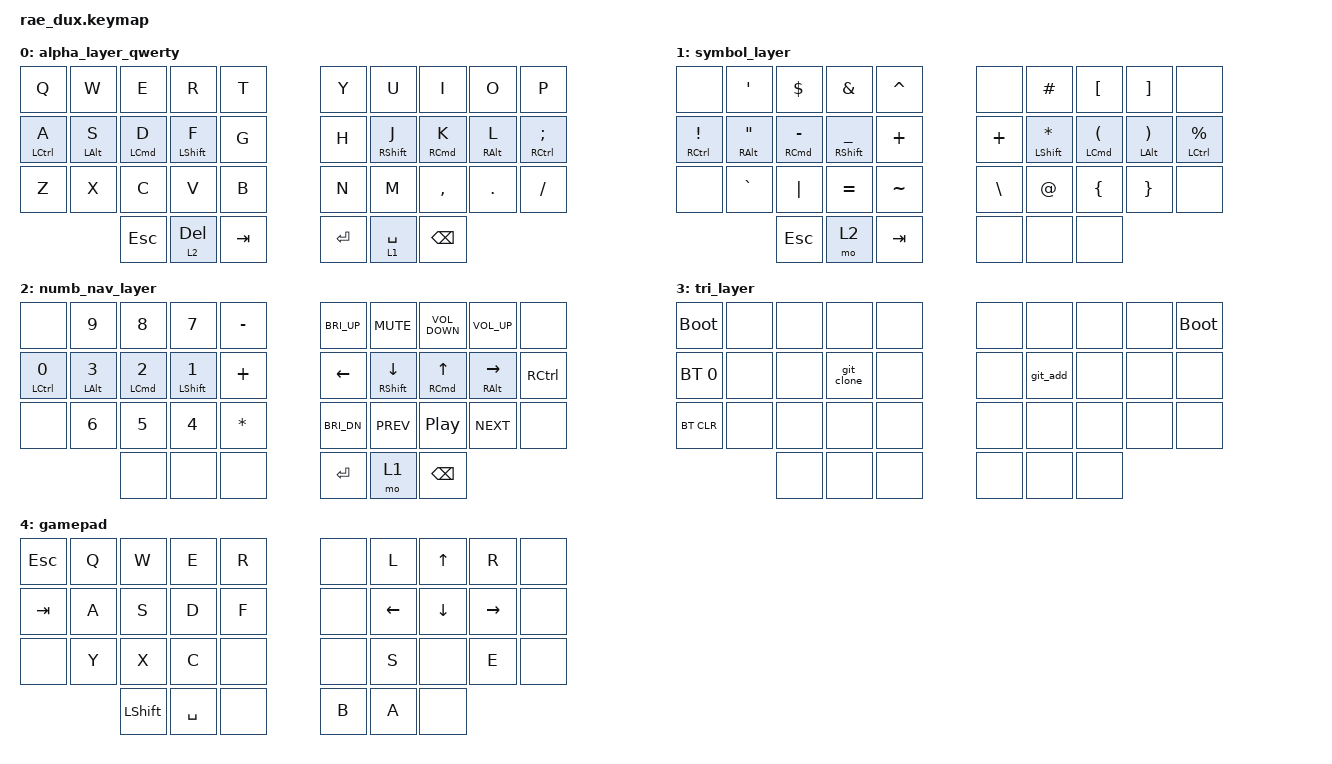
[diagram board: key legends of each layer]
/*
 * Copyright (c) 2021 The ZMK Contributors
 *
 * SPDX-License-Identifier: MIT
 */

#include <behaviors.dtsi>
#include <dt-bindings/zmk/bt.h>
#include <dt-bindings/zmk/keys.h>

&lt { flavor = "hold-preferred"; };

/ {
    conditional_layers {
        compatible = "zmk,conditional-layers";

        Tri {
            if-layers = <2 1>;
            then-layer = <3>;
        };
    };

    behaviors {
        hrm: home_row_mods {
            compatible = "zmk,behavior-hold-tap";
            label = "HOME_ROW_MODS";
            #binding-cells = <2>;
            flavor = "balanced";
            tapping-term-ms = <300>;
            bindings = <&kp>, <&kp>;
        };

        lt_repeat: lt_repeat {
            compatible = "zmk,behavior-hold-tap";
            label = "LT_REPEAT";
            bindings = <&mo>, <&key_repeat>;

            #binding-cells = <2>;
            flavor = "hold-preferred";
            tapping-term-ms = <300>;
        };

        new_behavior: new_behavior {
            compatible = "zmk,behavior-hold-tap";
            label = "NEW_BEHAVIOR";
            #binding-cells = <2>;
            flavor = "hold-preferred";
            tapping-term-ms = <300>;
            bindings = <&kp>, <&kp>;
        };

        asdasd: asdasd {
            compatible = "zmk,behavior-hold-tap";
            label = "ASDASD";
            #binding-cells = <2>;
            flavor = "tap-preferred";
            tapping-term-ms = <300>;
            bindings = <&kp>, <&kp>;
        };
    };

    combos {
        compatible = "zmk,combos";

        Gamepad {
            bindings = <&tog 4>;
            key-positions = <8 28>;
        };

        Lock_my_Screen {
            bindings = <&kp LC(LG(Q))>;
            key-positions = <9 29>;
        };

        Look_my_Screen_2 {
            bindings = <&kp LC(LG(Q))>;
            key-positions = <0 20>;
        };
    };

    macros {
        git_clone: git_clone {
            compatible = "zmk,behavior-macro";
            #binding-cells = <0>;
            bindings = <&none &kp G &kp I &kp T &kp SPACE &kp C &kp L &kp O &kp N &kp E &kp SPACE &kp G &kp I &kp T &kp AT &kp G &kp I &kp T &kp H &kp U &kp B &kp DOT &kp C &kp O &kp M &kp COLON &kp V &kp N1 &kp D &kp U &kp S &kp S &kp S &kp FSLH>;
            label = "GIT_CLONE";
        };

        git_add: git_add {
            compatible = "zmk,behavior-macro";
            #binding-cells = <0>;
            bindings = <&none &kp C &kp L &kp E &kp A &kp R &kp RET &kp G &kp I &kp T &kp SPACE &kp A &kp D &kp D &kp SPACE &kp DOT &kp RET &kp G &kp I &kp T &kp SPACE &kp S &kp T &kp A &kp T &kp U &kp S &kp RET &kp G &kp I &kp T &kp SPACE &kp R &kp E &kp S &kp T &kp O &kp R &kp E &kp SPACE &kp MINUS &kp MINUS &kp S &kp T &kp A &kp G &kp E &kp D &kp SPACE>;
            label = "GIT_ADD";
        };
    };

    keymap {
        compatible = "zmk,keymap";

        alpha_layer_qwerty {
            bindings = <
&kp Q                &kp W            &kp E                &kp R              &kp T                               &kp Y        &kp U               &kp I                 &kp O             &kp P
&hrm LEFT_CONTROL A  &hrm LEFT_ALT S  &hrm LEFT_COMMAND D  &hrm LEFT_SHIFT F  &kp G                               &kp H        &hrm RIGHT_SHIFT J  &hrm RIGHT_COMMAND K  &hrm RIGHT_ALT L  &hrm RIGHT_CONTROL SEMICOLON
&kp Z                &kp X            &kp C                &kp V              &kp B                               &kp N        &kp M               &kp COMMA             &kp DOT           &kp SLASH
                                                           &kp ESC            &lt 2 DELETE  &kp TAB    &kp ENTER  &lt 1 SPACE  &kp BACKSPACE
            >;
        };

        Symbol {
            bindings = <
&none                           &kp SINGLE_QUOTE              &kp DOLLAR                &kp AMPERSAND                &kp CARET                    &none          &kp POUND              &kp LEFT_BRACKET                    &kp RIGHT_BRACKET                &none
&hrm RIGHT_CONTROL EXCLAMATION  &hrm RIGHT_ALT DOUBLE_QUOTES  &hrm RIGHT_COMMAND MINUS  &hrm RIGHT_SHIFT UNDERSCORE  &kp PLUS                     &kp PLUS       &hrm LEFT_SHIFT ASTRK  &hrm LEFT_COMMAND LEFT_PARENTHESIS  &hrm LEFT_ALT RIGHT_PARENTHESIS  &hrm LEFT_CONTROL PERCENT
&none                           &kp GRAVE                     &kp PIPE                  &kp EQUAL                    &kp TILDE                    &kp BACKSLASH  &kp AT_SIGN            &kp LEFT_BRACE                      &kp RIGHT_BRACE                  &none
                                                                                        &kp ESC                      &mo 2      &kp TAB    &none  &none          &none
            >;

            label = "symbol_layer";
        };

        Numbers_Navigation {
            bindings = <
&none                 &kp NUMBER_9      &kp NUMBER_8          &kp NUMBER_7        &kp MINUS                      &kp C_BRI_UP  &kp C_MUTE             &kp C_VOLUME_DOWN      &kp C_VOLUME_UP       &none
&hrm LEFT_CONTROL N0  &hrm LEFT_ALT N3  &hrm LEFT_COMMAND N2  &hrm LEFT_SHIFT N1  &kp PLUS                       &kp LEFT      &hrm RIGHT_SHIFT DOWN  &hrm RIGHT_COMMAND UP  &hrm RIGHT_ALT RIGHT  &kp RIGHT_CONTROL
&none                 &kp NUMBER_6      &kp NUMBER_5          &kp NUMBER_4        &kp STAR                       &kp C_BRI_DN  &kp C_PREV             &kp C_PP               &kp C_NEXT            &none
                                                              &none               &none      &none    &kp ENTER  &mo 1         &kp BSPC
            >;

            label = "numb_nav_layer";
        };

        Tri {
            bindings = <
&bootloader   &none  &none  &none       &none                  &none  &none     &none  &none  &bootloader
&bt BT_SEL 0  &none  &none  &git_clone  &none                  &none  &git_add  &none  &none  &none
&bt BT_CLR    &none  &none  &none       &none                  &none  &none     &none  &none  &none
                            &none       &none  &none    &none  &none  &none
            >;

            label = "tri_layer";
        };

        gamepad {
            bindings = <
&kp ESC  &kp Q  &kp W  &kp E      &kp R                      &none  &kp L     &kp UP    &kp R      &none
&kp TAB  &kp A  &kp S  &kp D      &kp F                      &none  &kp LEFT  &kp DOWN  &kp RIGHT  &none
&none    &kp Y  &kp X  &kp C      &none                      &none  &kp S     &none     &kp E      &none
                       &kp LSHFT  &kp SPACE  &none    &kp B  &kp A  &none
            >;
        };
    };
};
